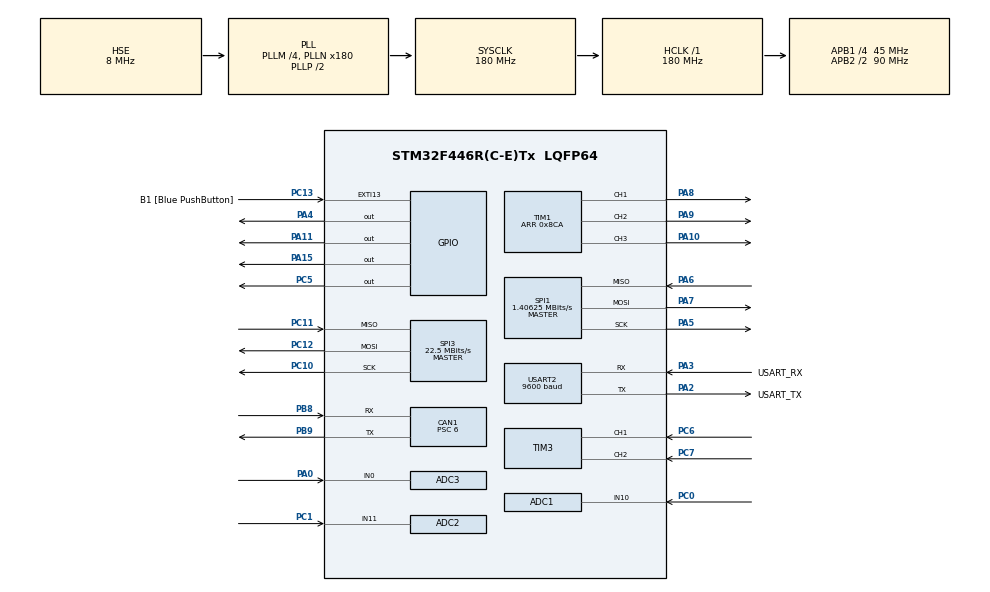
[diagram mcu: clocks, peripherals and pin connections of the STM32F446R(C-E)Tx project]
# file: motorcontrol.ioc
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ADC1.Channel-0\#ChannelRegularConversion=ADC_CHANNEL_10
ADC1.ClockPrescaler=ADC_CLOCK_SYNC_PCLK_DIV4
ADC1.EOCSelection=ADC_EOC_SINGLE_CONV
ADC1.ExternalTrigConv=ADC_SOFTWARE_START
ADC1.Mode=ADC_TRIPLEMODE_REGSIMULT
ADC1.NbrOfConversion=1
ADC1.NbrOfConversionFlag=1
ADC1.Rank-0\#ChannelRegularConversion=1
ADC1.SamplingTime-0\#ChannelRegularConversion=ADC_SAMPLETIME_3CYCLES
ADC1.master=1
ADC2.Channel-0\#ChannelRegularConversion=ADC_CHANNEL_11
ADC2.ClockPrescaler=ADC_CLOCK_SYNC_PCLK_DIV4
ADC2.Mode=ADC_TRIPLEMODE_REGSIMULT
ADC2.NbrOfConversionFlag=1
ADC2.Rank-0\#ChannelRegularConversion=1
ADC2.SamplingTime-0\#ChannelRegularConversion=ADC_SAMPLETIME_3CYCLES
ADC3.Channel-2\#ChannelRegularConversion=ADC_CHANNEL_0
ADC3.ClockPrescaler=ADC_CLOCK_SYNC_PCLK_DIV4
ADC3.Mode=ADC_TRIPLEMODE_REGSIMULT
ADC3.NbrOfConversionFlag=1
ADC3.Rank-2\#ChannelRegularConversion=1
ADC3.SamplingTime-2\#ChannelRegularConversion=ADC_SAMPLETIME_3CYCLES
CAN1.BS1=CAN_BS1_12TQ
CAN1.BS2=CAN_BS2_2TQ
CAN1.CalculateBaudRate=500000
CAN1.CalculateTimeBit=2000
CAN1.CalculateTimeQuantum=133.33333333333331
CAN1.Prescaler=6
Mcu.Family=STM32F4
Mcu.Name=STM32F446R(C-E)Tx
Mcu.Package=LQFP64
NVIC.CAN1_RX0_IRQn=true\:0\:0\:false\:false\:true\:true\:true\:true
NVIC.PriorityGroup=NVIC_PRIORITYGROUP_0
NVIC.TIM1_UP_TIM10_IRQn=true\:0\:0\:false\:false\:true\:true\:true\:true
NVIC.USART2_IRQn=true\:0\:0\:false\:false\:true\:true\:true\:true
PA0-WKUP.Signal=ADCx_IN0
PA10.GPIO_Speed=GPIO_SPEED_FREQ_VERY_HIGH
PA10.Signal=S_TIM1_CH3
PA11.GPIO_Speed=GPIO_SPEED_FREQ_VERY_HIGH
PA11.Signal=GPIO_Output
PA13.GPIO_Label=TMS
PA13.Mode=Serial_Wire
PA13.Signal=SYS_JTMS-SWDIO
PA14.GPIO_Label=TCK
PA14.Mode=Serial_Wire
PA14.Signal=SYS_JTCK-SWCLK
PA15.GPIO_Speed=GPIO_SPEED_FREQ_VERY_HIGH
PA15.Signal=GPIO_Output
PA2.GPIO_Label=USART_TX
PA2.Mode=Asynchronous
PA2.Signal=USART2_TX
PA3.GPIO_Label=USART_RX
PA3.Mode=Asynchronous
PA3.Signal=USART2_RX
PA4.GPIO_Speed=GPIO_SPEED_FREQ_VERY_HIGH
PA4.Signal=GPIO_Output
PA5.Mode=Full_Duplex_Master
PA5.Signal=SPI1_SCK
PA6.Mode=Full_Duplex_Master
PA6.Signal=SPI1_MISO
PA7.Mode=Full_Duplex_Master
PA7.Signal=SPI1_MOSI
PA8.GPIO_Speed=GPIO_SPEED_FREQ_VERY_HIGH
PA8.Signal=S_TIM1_CH1
PA9.GPIO_Speed=GPIO_SPEED_FREQ_VERY_HIGH
PA9.Signal=S_TIM1_CH2
PB3.GPIO_Label=SWO
PB3.Signal=SYS_JTDO-SWO
PB8.Mode=CAN_Activate
PB8.Signal=CAN1_RX
PB9.Mode=CAN_Activate
PB9.Signal=CAN1_TX
PC0.Signal=ADCx_IN10
PC1.Signal=ADCx_IN11
PC10.Mode=Full_Duplex_Master
PC10.Signal=SPI3_SCK
PC11.Mode=Full_Duplex_Master
PC11.Signal=SPI3_MISO
PC12.Mode=Full_Duplex_Master
PC12.Signal=SPI3_MOSI
PC13.GPIO_Label=B1 [Blue PushButton]
PC13.GPIO_ModeDefaultEXTI=GPIO_MODE_IT_FALLING
PC13.Signal=GPXTI13
PC5.GPIO_Speed=GPIO_SPEED_FREQ_VERY_HIGH
PC5.Signal=GPIO_Output
PC6.Signal=S_TIM3_CH1
PC7.Signal=S_TIM3_CH2
PH0-OSC_IN.Mode=HSE-External-Oscillator
PH0-OSC_IN.Signal=RCC_OSC_IN
PH1-OSC_OUT.Mode=HSE-External-Oscillator
PH1-OSC_OUT.Signal=RCC_OSC_OUT
ProjectManager.HeapSize=0x200
ProjectManager.StackSize=0x400
ProjectManager.TargetToolchain=STM32CubeIDE
RCC.48MHZClocksFreq_Value=84000000
RCC.AHBFreq_Value=180000000
RCC.APB1CLKDivider=RCC_HCLK_DIV4
RCC.APB1Freq_Value=45000000
RCC.APB1TimFreq_Value=90000000
RCC.APB2CLKDivider=RCC_HCLK_DIV2
RCC.APB2Freq_Value=90000000
RCC.APB2TimFreq_Value=180000000
RCC.CortexFreq_Value=180000000
RCC.FLatency-AdvancedSettings=FLASH_LATENCY_5
RCC.HCLKFreq_Value=180000000
RCC.HSE_VALUE=8000000
RCC.HSI_VALUE=16000000
RCC.PLLM=4
RCC.PLLN=180
RCC.PLLSourceVirtual=RCC_PLLSOURCE_HSE
RCC.SYSCLKFreq_VALUE=180000000
RCC.SYSCLKSource=RCC_SYSCLKSOURCE_PLLCLK
RCC.USBFreq_Value=180000000
RCC.VCOOutputFreq_Value=360000000
SH.ADCx_IN0.0=ADC3_IN0,IN0
SH.ADCx_IN10.0=ADC1_IN10,IN10
SH.ADCx_IN11.0=ADC2_IN11,IN11
SH.S_TIM1_CH1.0=TIM1_CH1,PWM Generation1 CH1
SH.S_TIM1_CH2.0=TIM1_CH2,PWM Generation2 CH2
SH.S_TIM1_CH3.0=TIM1_CH3,PWM Generation3 CH3
SH.S_TIM3_CH1.0=TIM3_CH1,Encoder_Interface
SH.S_TIM3_CH2.0=TIM3_CH2,Encoder_Interface
SPI1.BaudRatePrescaler=SPI_BAUDRATEPRESCALER_64
SPI1.CLKPhase=SPI_PHASE_2EDGE
SPI1.CalculateBaudRate=1.40625 MBits/s
SPI1.DataSize=SPI_DATASIZE_16BIT
SPI1.Direction=SPI_DIRECTION_2LINES
SPI1.FirstBit=SPI_FIRSTBIT_MSB
SPI1.Mode=SPI_MODE_MASTER
SPI1.VirtualType=VM_MASTER
SPI3.BaudRatePrescaler=SPI_BAUDRATEPRESCALER_2
SPI3.CalculateBaudRate=22.5 MBits/s
SPI3.DataSize=SPI_DATASIZE_16BIT
SPI3.Direction=SPI_DIRECTION_2LINES
SPI3.Mode=SPI_MODE_MASTER
SPI3.VirtualType=VM_MASTER
TIM1.AutoReloadPreload=TIM_AUTORELOAD_PRELOAD_ENABLE
TIM1.BreakPolarity=TIM_BREAKPOLARITY_HIGH
TIM1.Channel-PWM\ Generation1\ CH1=TIM_CHANNEL_1
TIM1.Channel-PWM\ Generation2\ CH2=TIM_CHANNEL_2
TIM1.Channel-PWM\ Generation3\ CH3=TIM_CHANNEL_3
TIM1.CounterMode=TIM_COUNTERMODE_CENTERALIGNED1
TIM1.OCFastMode_PWM-PWM\ Generation1\ CH1=TIM_OCFAST_ENABLE
TIM1.OCFastMode_PWM-PWM\ Generation2\ CH2=TIM_OCFAST_ENABLE
TIM1.OCFastMode_PWM-PWM\ Generation3\ CH3=TIM_OCFAST_ENABLE
TIM1.OCPolarity_1=TIM_OCPOLARITY_LOW
TIM1.OCPolarity_2=TIM_OCPOLARITY_LOW
TIM1.OCPolarity_3=TIM_OCPOLARITY_LOW
TIM1.Period=0x8CA
TIM1.RepetitionCounter=1
TIM3.AutoReloadPreload=TIM_AUTORELOAD_PRELOAD_ENABLE
TIM3.EncoderMode=TIM_ENCODERMODE_TI12
TIM3.IC1Filter=10
USART2.BaudRate=9600
USART2.VirtualMode=VM_ASYNC
VP_TIM1_VS_ClockSourceINT.Mode=Internal
board=NUCLEO-F446RE

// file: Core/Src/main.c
/* USER CODE BEGIN Header */
/**
  ******************************************************************************
  * @file           : main.c
  * @brief          : Main program body
  ******************************************************************************
  * @attention
  *
  * <h2><center>&copy; Copyright (c) 2020 STMicroelectronics.
  * All rights reserved.</center></h2>
  *
  * This software component is licensed by ST under BSD 3-Clause license,
  * the "License"; You may not use this file except in compliance with the
  * License. You may obtain a copy of the License at:
  *                        opensource.org/licenses/BSD-3-Clause
  *
  ******************************************************************************
  */

/// high-bandwidth 3-phase motor control for robots
/// Written by Ben Katz, with much inspiration from Bayley Wang, Nick Kirkby, Shane Colton, David Otten, and others
/// Hardware documentation can be found at build-its.blogspot.com

/* USER CODE END Header */
#include "main.h"
#include "adc.h"
#include "can.h"
#include "spi.h"
#include "tim.h"
#include "usart.h"
#include "gpio.h"

/* USER CODE BEGIN Includes */
#include "structs.h"
#include <stdio.h>
#include <string.h>

#include "stm32f4xx_flash.h"
#include "flash_writer.h"
#include "position_sensor.h"
#include "preference_writer.h"
#include "hw_config.h"
#include "user_config.h"
#include "fsm.h"
#include "drv8323.h"
#include "foc.h"
#include "math_ops.h"
#include "calibration.h"
/* USER CODE END Includes */

/* USER CODE BEGIN PM */

#define VERSION_NUM 2.0f

/* USER CODE END PM */

/* USER CODE BEGIN PV */

/* Flash Registers */
float __float_reg[64];
int __int_reg[256];
PreferenceWriter prefs;

int count = 0;

/* Structs for control, etc */

ControllerStruct controller;
ObserverStruct observer;
COMStruct com;
FSMStruct state;
EncoderStruct comm_encoder;
DRVStruct drv;
CalStruct comm_encoder_cal;
CANTxMessage can_tx;
CANRxMessage can_rx;

/* init but don't allocate calibration arrays */
int *error_array = NULL;
int *lut_array = NULL;

uint8_t Serial2RxBuffer[1];

/* USER CODE END PV */

void SystemClock_Config(void);

int main(void)
{

  /* MCU Configuration--------------------------------------------------------*/

  /* Reset of all peripherals, Initializes the Flash interface and the Systick. */
  HAL_Init();

  /* Configure the system clock */
  SystemClock_Config();

  /* Initialize all configured peripherals */
  MX_GPIO_Init();
  MX_USART2_UART_Init();
  MX_TIM1_Init();
  MX_CAN1_Init();
  MX_SPI1_Init();
  MX_SPI3_Init();
  MX_ADC1_Init();
  MX_ADC2_Init();
  MX_ADC3_Init();
  MX_TIM3_Init();
  /* USER CODE BEGIN 2 */

  HAL_TIM_Encoder_Start(&TIM_ENCODER, TIM_CHANNEL_ALL);

  /* Load settings from flash */
  preference_writer_init(&prefs, 6);
  preference_writer_load(prefs);

  /* Sanitize configs in case flash is empty*/
  if(E_ZERO==-1){E_ZERO = 0;}
  if(M_ZERO==-1){M_ZERO = 0;}
  if(isnan(I_BW) || I_BW==-1){I_BW = 1000;}
  if(isnan(I_MAX) || I_MAX ==-1){I_MAX=4;}
  if(isnan(I_FW_MAX) || I_FW_MAX ==-1){I_FW_MAX=0;}
  if(CAN_ID==-1){CAN_ID = 1;}
  if(CAN_MASTER==-1){CAN_MASTER = 0;}
  if(CAN_TIMEOUT==-1){CAN_TIMEOUT = 1000;}
  if(isnan(R_NOMINAL) || R_NOMINAL==-1){R_NOMINAL = 0.0f;}
  if(isnan(TEMP_MAX) || TEMP_MAX==-1){TEMP_MAX = 125.0f;}
  if(isnan(I_MAX_CONT) || I_MAX_CONT==-1){I_MAX_CONT = 14.0f;}
  if(isnan(I_CAL)||I_CAL==-1){I_CAL = 5.0f;}
  if(isnan(PPAIRS) || PPAIRS==-1){PPAIRS = 21.0f;}
  if(isnan(GR) || GR==-1){GR = 1.0f;}
  if(isnan(KT) || KT==-1){KT = 1.0f;}
  if(isnan(KP_MAX) || KP_MAX==-1){KP_MAX = 500.0f;}
  if(isnan(KD_MAX) || KD_MAX==-1){KD_MAX = 5.0f;}
  if(isnan(P_MAX)){P_MAX = 12.5f;}
  if(isnan(P_MIN)){P_MIN = -12.5f;}
  if(isnan(V_MAX)){V_MAX = 65.0f;}
  if(isnan(V_MIN)){V_MIN = -65.0f;}

  //printf("\r\nFirmware Version Number: %.2f\r\n", VERSION_NUM);

  /* Controller Setup */
  if(PHASE_ORDER){							// Timer channel to phase mapping

  }
  else{

  }

  init_controller_params(&controller);

  /* calibration "encoder" zeroing */
  memset(&comm_encoder_cal.cal_position, 0, sizeof(EncoderStruct));

  /* commutation encoder setup */
  comm_encoder.m_zero = M_ZERO;
  comm_encoder.e_zero = E_ZERO;
  comm_encoder.ppairs = PPAIRS;
  //ps_warmup(&comm_encoder, 100);			// clear the noisy data when the encoder first turns on

  if(EN_ENC_LINEARIZATION){memcpy(&comm_encoder.offset_lut, &ENCODER_LUT, sizeof(comm_encoder.offset_lut));}	// Copy the linearization lookup table
  else{memset(&comm_encoder.offset_lut, 0, sizeof(comm_encoder.offset_lut));}
  //for(int i = 0; i<128; i++){printf("%d\r\n", comm_encoder.offset_lut[i]);}

  /* Turn on ADCs */
  HAL_ADC_Start(&hadc1);
  HAL_ADC_Start(&hadc2);
  HAL_ADC_Start(&hadc3);

  /* DRV8323 setup */
  HAL_GPIO_WritePin(DRV_CS, GPIO_PIN_SET ); 	// CS high
  HAL_GPIO_WritePin(ENABLE_PIN, GPIO_PIN_SET );
  HAL_Delay(1);
  //drv_calibrate(drv);
  HAL_Delay(1);
  drv_write_DCR(drv, 0x0, DIS_GDF_EN, 0x0, PWM_MODE_3X, 0x0, 0x0, 0x0, 0x0, 0x1);
  HAL_Delay(1);
  int CSA_GAIN;
  if(I_MAX <= 40.0f){CSA_GAIN = CSA_GAIN_40;}	// Up to 40A use 40X amplifier gain
  else{CSA_GAIN = CSA_GAIN_20;}					// From 40-60A use 20X amplifier gain.  (Make this generic in the future)
  drv_write_CSACR(drv, 0x0, 0x1, 0x0, CSA_GAIN_40, 0x0, 0x1, 0x1, 0x1, SEN_LVL_0_25);
  HAL_Delay(1);
  drv_write_CSACR(drv, 0x0, 0x1, 0x0, CSA_GAIN, 0x1, 0x0, 0x0, 0x0, SEN_LVL_0_25);
  HAL_Delay(1);
  zero_current(&controller);
  HAL_Delay(1);
  drv_write_OCPCR(drv, TRETRY_50US, DEADTIME_50NS, OCP_RETRY, OCP_DEG_8US, VDS_LVL_0_45);
  HAL_Delay(1);
  drv_disable_gd(drv);
  HAL_Delay(1);
  //drv_enable_gd(drv);   */
  printf("ADC A OFFSET: %d     ADC B OFFSET: %d\r\n", controller.adc_a_offset, controller.adc_b_offset);

  /* Turn on PWM */
  HAL_TIM_PWM_Start(&htim1, TIM_CHANNEL_1);
  HAL_TIM_PWM_Start(&htim1, TIM_CHANNEL_2);
  HAL_TIM_PWM_Start(&htim1, TIM_CHANNEL_3);

  /* CAN setup */
  can_rx_init(&can_rx);
  can_tx_init(&can_tx);
  HAL_CAN_Start(&CAN_H); //start CAN
  //__HAL_CAN_ENABLE_IT(&CAN_H, CAN_IT_RX_FIFO0_MSG_PENDING); // Start can interrupt

  /* Set Interrupt Priorities */
  HAL_NVIC_SetPriority(PWM_ISR, 0x0,0x0); // commutation > communication
  HAL_NVIC_SetPriority(CAN_ISR, 0x01, 0x01);

  /* Start the FSM */

  state.state = INIT_TEMP_MODE;
  //state.state = MENU_MODE;
  state.next_state = MENU_MODE;
  state.ready = 1;

  /* Turn on interrupts */
  HAL_UART_Receive_IT(&huart2, (uint8_t *)Serial2RxBuffer, 1);
  HAL_TIM_Base_Start_IT(&htim1);

  /* USER CODE END 2 */

  /* Infinite loop */
  /* USER CODE BEGIN WHILE */
  while (1)
  {

	  HAL_Delay(100);
	  drv_print_faults(drv);
	 // if(state.state==MOTOR_MODE){
	  	  //printf("%.2f %.2f %.2f %.2f %.2f\r\n", controller.p_des, controller.v_des, controller.kp, controller.kd, controller.t_ff);
	  //}
    /* USER CODE END WHILE */

  }
}

void SystemClock_Config(void)
{
  RCC_OscInitTypeDef RCC_OscInitStruct = {0};
  RCC_ClkInitTypeDef RCC_ClkInitStruct = {0};

  /** Configure the main internal regulator output voltage
  */
  __HAL_RCC_PWR_CLK_ENABLE();
  __HAL_PWR_VOLTAGESCALING_CONFIG(PWR_REGULATOR_VOLTAGE_SCALE1);
  /** Initializes the RCC Oscillators according to the specified parameters
  * in the RCC_OscInitTypeDef structure.
  */
  RCC_OscInitStruct.OscillatorType = RCC_OSCILLATORTYPE_HSE;
  RCC_OscInitStruct.HSEState = RCC_HSE_ON;
  RCC_OscInitStruct.PLL.PLLState = RCC_PLL_ON;
  RCC_OscInitStruct.PLL.PLLSource = RCC_PLLSOURCE_HSE;
  RCC_OscInitStruct.PLL.PLLM = 4;
  RCC_OscInitStruct.PLL.PLLN = 180;
  RCC_OscInitStruct.PLL.PLLP = RCC_PLLP_DIV2;
  RCC_OscInitStruct.PLL.PLLQ = 2;
  RCC_OscInitStruct.PLL.PLLR = 2;
  if (HAL_RCC_OscConfig(&RCC_OscInitStruct) != HAL_OK)
  {
    Error_Handler();
  }
  /** Activate the Over-Drive mode
  */
  if (HAL_PWREx_EnableOverDrive() != HAL_OK)
  {
    Error_Handler();
  }
  /** Initializes the CPU, AHB and APB buses clocks
  */
  RCC_ClkInitStruct.ClockType = RCC_CLOCKTYPE_HCLK|RCC_CLOCKTYPE_SYSCLK
                              |RCC_CLOCKTYPE_PCLK1|RCC_CLOCKTYPE_PCLK2;
  RCC_ClkInitStruct.SYSCLKSource = RCC_SYSCLKSOURCE_PLLCLK;
  RCC_ClkInitStruct.AHBCLKDivider = RCC_SYSCLK_DIV1;
  RCC_ClkInitStruct.APB1CLKDivider = RCC_HCLK_DIV4;
  RCC_ClkInitStruct.APB2CLKDivider = RCC_HCLK_DIV2;

  if (HAL_RCC_ClockConfig(&RCC_ClkInitStruct, FLASH_LATENCY_5) != HAL_OK)
  {
    Error_Handler();
  }
}

void Error_Handler(void)
{
}

/************************ (C) COPYRIGHT STMicroelectronics *****END OF FILE****/
